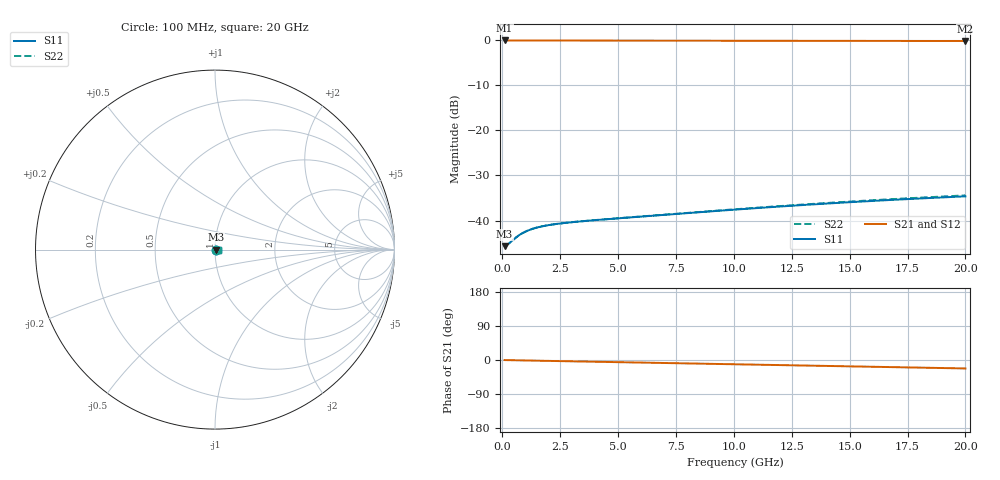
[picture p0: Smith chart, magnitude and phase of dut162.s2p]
! Touchstone file exported from HFSS 2026.1.0
!  File:  C:/ffzhzh/LocalFiles/Ansys_Project_Files/temp_train_BSMRDL_162_1782986830_40604.aedt
!  Generated:  06:08:17 PM Jul  2, 2026
!  Design:  BSMRDL
!  Project:  temp_train_BSMRDL_162_1782986830_40604
! Variables:
!  h_bsmrdl = 2.26um
!  h_ox = 20um
!  h_rdl = 5um
!  h_sub = 80um
!  h_tmrdl = 5um
!  h_tsv = 80um
!  h_via = 3um
!  l_bsmrdl = 398.16um
!  l_sub = 798.16um
!  l_tmrdl = 200um
!  m_sub = 200um
!  pitch = 14.79um
!  r_tsv = 6um
!  s_tmrdl = 10um
!  w_bsmrdl = 12.48um
!  w_sub = 500um
!  w_tmrdl = 12um
!  x_tsv_center1 = 206um
!  x_tsv_center2 = 616.64um
!  x_tsv_center3 = 828.64um
!  x_tsv_center4 = 1239.28um
!  x_tsv_center5 = 1451.28um
!  x_tsv_center6 = 1861.92um
# GHz S MA R 50.000000
! Terminal data exported
! Port[1] = BSM_RDL1_1_T1
! Port[2] = BSM_RDL1_1_T2
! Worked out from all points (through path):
!   200 points, 100 MHz to 20 GHz, reference 50 ohm
!   highest |S21| = -0.05 dB at 100 MHz (marker M1); lowest = -0.2 dB at 20 GHz (marker M2)
!   group delay of S21, straight-line fit = 3.08 ps
!   lowest |S11| = -45.7 dB at 100 MHz (marker M3), VSWR 1.01, Z = 50.5 + j0.0438 ohm
!   |S11| at or under -10 dB: start of sweep to end of sweep
!   |S22| runs from -45.7 to -34.4 dB; largest |S21 - S12| = 5.3e-15
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0.1  0.005202 4.8  0.9948 -0.1  0.9948 -0.1  0.005202 4.8
! Gamma 0 0 0 0
! Port Impedance 50 0 50 0
0.2  0.005366 9.0  0.9947 -0.3  0.9947 -0.3  0.005366 9.0
0.3  0.00561 12.5  0.9945 -0.4  0.9945 -0.4  0.00561 12.5
0.6  0.006516 17.7  0.9938 -0.8  0.9938 -0.8  0.006516 17.7
0.7  0.006807 18.3  0.9936 -0.9  0.9936 -0.9  0.006808 18.3
0.8  0.007077 18.5  0.9933 -1.0  0.9933 -1.0  0.007078 18.5
1  0.007546 18.5  0.9929 -1.3  0.9929 -1.3  0.007547 18.4
1.1  0.007747 18.2  0.9927 -1.4  0.9927 -1.4  0.007748 18.2
1.3  0.008092 17.7  0.9923 -1.6  0.9923 -1.6  0.008094 17.7
1.5  0.008376 17.1  0.992 -1.8  0.992 -1.8  0.008378 17.1
1.7  0.008613 16.5  0.9918 -2.0  0.9918 -2.0  0.008617 16.5
2.1  0.008991 15.5  0.9914 -2.5  0.9914 -2.5  0.008996 15.5
2.7  0.009416 14.4  0.991 -3.1  0.991 -3.1  0.009424 14.4
3.5  0.009859 13.4  0.9906 -4.0  0.9906 -4.0  0.009873 13.4
4.6  0.0104 12.5  0.9901 -5.3  0.9901 -5.3  0.01042 12.4
6.8  0.01148 10.8  0.989 -7.7  0.989 -7.7  0.01153 10.7
10.1  0.01326 6.9  0.9873 -11.4  0.9873 -11.4  0.01338 6.8
11.8  0.01421 4.2  0.9862 -13.3  0.9862 -13.3  0.01437 4.0
13.4  0.01511 1.2  0.9852 -15.1  0.9852 -15.1  0.01531 1.0
15  0.01599 -2.0  0.9842 -16.8  0.9842 -16.8  0.01624 -2.2
16.7  0.01689 -5.6  0.9831 -18.7  0.9831 -18.7  0.01721 -5.8
20  0.01856 -12.9  0.981 -22.3  0.981 -22.3  0.01902 -13.2
